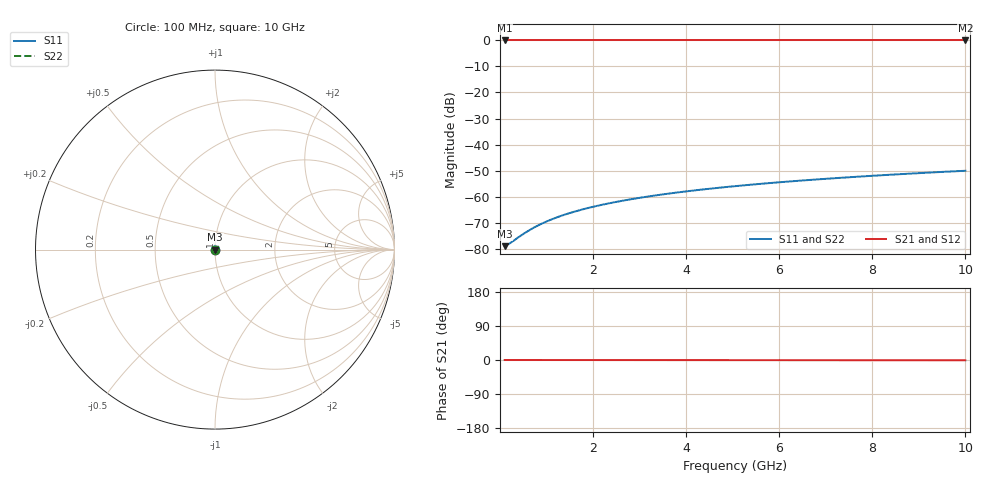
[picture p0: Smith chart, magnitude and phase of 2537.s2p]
# Hz S RI R 50.00
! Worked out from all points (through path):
!   100 points, 100 MHz to 10 GHz, reference 50 ohm
!   highest |S21| = 0.00 dB at 100 MHz (marker M1); lowest = 0.0 dB at 10 GHz (marker M2)
!   lowest |S11| = -79.1 dB at 100 MHz (marker M3), VSWR 1.00, Z = 50 + j0.00313 ohm
!   |S11| at or under -10 dB: start of sweep to end of sweep
!   |S22| runs from -79.1 to -50.1 dB; largest |S21 - S12| = 1e-15
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1e8  0.000107 3.13e-05  0.9999 -0.000128  0.9999 -0.000128  0.000107 3.13e-05
2e8  0.000107 6.25e-05  0.9999 -0.000257  0.9999 -0.000257  0.000107 6.25e-05
5e8  0.000109 0.000156  0.9999 -0.000641  0.9999 -0.000641  0.000109 0.000156
6e8  0.000109 0.000188  0.9999 -0.00077  0.9999 -0.00077  0.000109 0.000188
7e8  0.000109 0.000219  0.9999 -0.000898  0.9999 -0.000898  0.000109 0.000219
9e8  0.00011 0.000281  0.9999 -0.00115  0.9999 -0.00115  0.00011 0.000281
1.1e9  0.00011 0.000344  0.9999 -0.00141  0.9999 -0.00141  0.00011 0.000344
1.3e9  0.000111 0.000406  0.9999 -0.00167  0.9999 -0.00167  0.000111 0.000406
1.5e9  0.000112 0.000469  0.9999 -0.00192  0.9999 -0.00192  0.000112 0.000469
1.8e9  0.000112 0.000563  0.9999 -0.00231  0.9999 -0.00231  0.000112 0.000563
2.1e9  0.000113 0.000657  0.9999 -0.00269  0.9999 -0.00269  0.000113 0.000657
2.5e9  0.000114 0.000782  0.9999 -0.00321  0.9999 -0.00321  0.000114 0.000782
2.9e9  0.000116 0.000907  0.9999 -0.00372  0.9999 -0.00372  0.000116 0.000907
3.4e9  0.000117 0.00106  0.9999 -0.00436  0.9999 -0.00436  0.000117 0.00106
3.8e9  0.000119 0.00119  0.9999 -0.00488  0.9999 -0.00488  0.000119 0.00119
4.2e9  0.00012 0.00131  0.9999 -0.00539  0.9999 -0.00539  0.00012 0.00131
5.1e9  0.000124 0.00159  0.9999 -0.00655  0.9999 -0.00655  0.000124 0.00159
5.9e9  0.000129 0.00184  0.9998 -0.00758  0.9998 -0.00758  0.000129 0.00184
6.7e9  0.000133 0.00209  0.9998 -0.00861  0.9998 -0.00861  0.000133 0.00209
7.5e9  0.000138 0.00234  0.9998 -0.00964  0.9998 -0.00964  0.000138 0.00234
8.4e9  0.000145 0.00263  0.9998 -0.0108  0.9998 -0.0108  0.000145 0.00263
1e10  0.000158 0.00313  0.9998 -0.0129  0.9998 -0.0129  0.000158 0.00313
